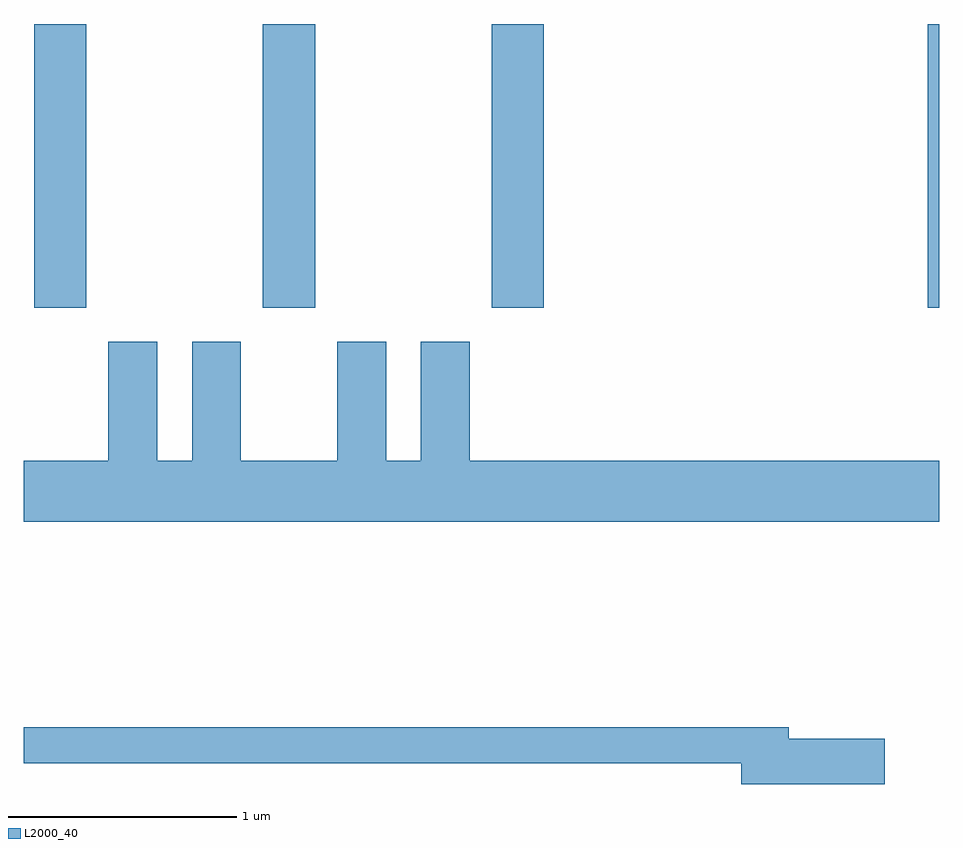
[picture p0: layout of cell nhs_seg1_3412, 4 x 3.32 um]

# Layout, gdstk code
import gdstk
lib = gdstk.Library(unit=1e-6, precision=1e-09)
def R(c, l, rs):  # rectangles x0, y0, x1, y1
    for r in rs: c.add(gdstk.rectangle(r[:2], r[2:], *l))
def A(c, l, x, y, w, h, nx, ny, dx, dy):  # array of equal rectangles
    R(c, l, [(x+i*dx, y+j*dy, x+i*dx+w, y+j*dy+h) for i in range(nx) for j in range(ny)])
def P(c, l, *ps):  # polygons
    for p in ps: c.add(gdstk.Polygon(p, *l))
L2000_40 = (2000, 40)

nhs_seg1_3412 = lib.new_cell('nhs_seg1_3412')
A(nhs_seg1_3412, L2000_40, 287.656, 940.471, 0.228, 1.241, 3, 1, 1, 0)
R(nhs_seg1_3412, L2000_40, [(291.561,940.471,291.611,941.712)])
P(nhs_seg1_3412, L2000_40, [(291.611,939.804),(289.559,939.804),(289.559,940.324),(289.346,940.324),(289.346,939.804),(289.194,939.804),(289.194,940.324),(288.981,940.324),(288.981,939.804),(288.559,939.804),(288.559,940.324),(288.346,940.324),(288.346,939.804),(288.194,939.804),(288.194,940.324),(287.981,940.324),(287.981,939.804),(287.611,939.804),(287.611,939.536),(291.611,939.536)],
  [(291.374,938.589),(290.954,938.589),(290.954,938.639),(287.611,938.639),(287.611,938.481),(290.746,938.481),(290.746,938.391),(291.374,938.391)])

lib.write_gds('nhs_seg1_3412.gds')
